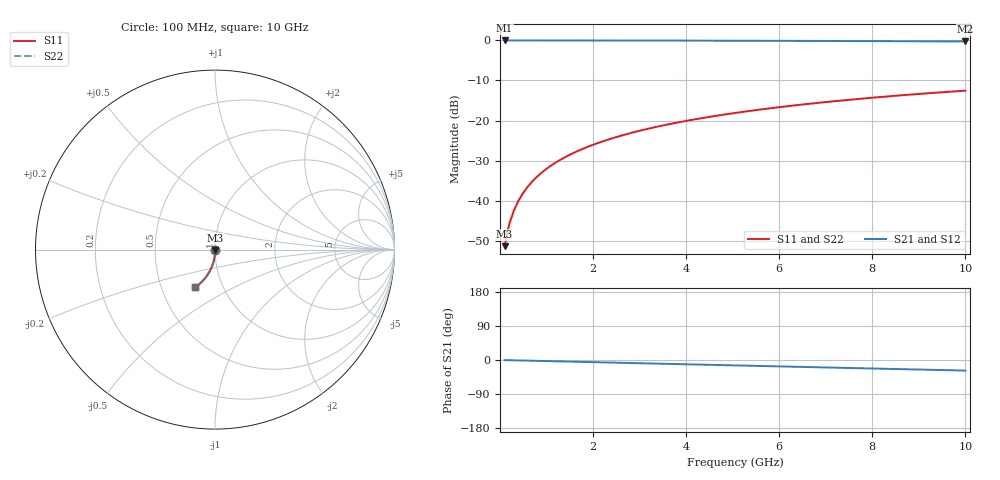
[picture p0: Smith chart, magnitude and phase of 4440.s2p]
# Hz S RI R 50.00
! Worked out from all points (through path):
!   100 points, 100 MHz to 10 GHz, reference 50 ohm
!   highest |S21| = -0.01 dB at 100 MHz (marker M1); lowest = -0.3 dB at 10 GHz (marker M2)
!   group delay of S21, straight-line fit = 7.75 ps
!   lowest |S11| = -51.4 dB at 100 MHz (marker M3), VSWR 1.01, Z = 50.1 - j0.25 ohm
!   |S11| at or under -10 dB: start of sweep to end of sweep
!   |S22| runs from -51.4 to -12.5 dB; largest |S21 - S12| = 0
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1e8  0.00103 -0.0025  0.9989 -0.00494  0.9989 -0.00494  0.00103 -0.0025
2e8  0.000993 -0.005  0.9989 -0.00987  0.9989 -0.00987  0.000993 -0.005
3e8  0.000933 -0.0075  0.9988 -0.0148  0.9988 -0.0148  0.000933 -0.0075
4e8  0.000848 -0.01  0.9987 -0.0197  0.9987 -0.0197  0.000848 -0.01
5e8  0.000737 -0.0125  0.9985 -0.0247  0.9985 -0.0247  0.000737 -0.0125
6e8  0.000601 -0.015  0.9984 -0.0296  0.9984 -0.0296  0.000601 -0.015
7e8  0.00044 -0.0175  0.9982 -0.0345  0.9982 -0.0345  0.00044 -0.0175
8e8  0.000254 -0.02  0.9979 -0.0395  0.9979 -0.0395  0.000254 -0.02
9e8  4.38e-05 -0.0225  0.9977 -0.0444  0.9977 -0.0444  4.38e-05 -0.0225
1.1e9  -0.000451 -0.0274  0.997 -0.0543  0.997 -0.0543  -0.000451 -0.0274
1.4e9  -0.00138 -0.0349  0.9959 -0.069  0.9959 -0.069  -0.00138 -0.0349
1.8e9  -0.00296 -0.0447  0.9939 -0.0886  0.9939 -0.0886  -0.00296 -0.0447
2.1e9  -0.00439 -0.0521  0.9921 -0.1033  0.9921 -0.1033  -0.00439 -0.0521
2.5e9  -0.00664 -0.0618  0.9893 -0.1228  0.9893 -0.1228  -0.00664 -0.0618
2.9e9  -0.00928 -0.0714  0.986 -0.1421  0.986 -0.1421  -0.00928 -0.0714
3.4e9  -0.0131 -0.0833  0.9812 -0.1662  0.9812 -0.1662  -0.0131 -0.0833
4.2e9  -0.0204 -0.1017  0.9721 -0.2042  0.9721 -0.2042  -0.0204 -0.1017
5.1e9  -0.0302 -0.1217  0.9597 -0.2461  0.9597 -0.2461  -0.0302 -0.1217
5.9e9  -0.0404 -0.1386  0.9469 -0.2826  0.9469 -0.2826  -0.0404 -0.1386
6.7e9  -0.0518 -0.1546  0.9324 -0.3181  0.9324 -0.3181  -0.0518 -0.1546
8.4e9  -0.0796 -0.1851  0.8967 -0.3902  0.8967 -0.3902  -0.0796 -0.1851
1e10  -0.1095 -0.209  0.8576 -0.4534  0.8576 -0.4534  -0.1095 -0.209
